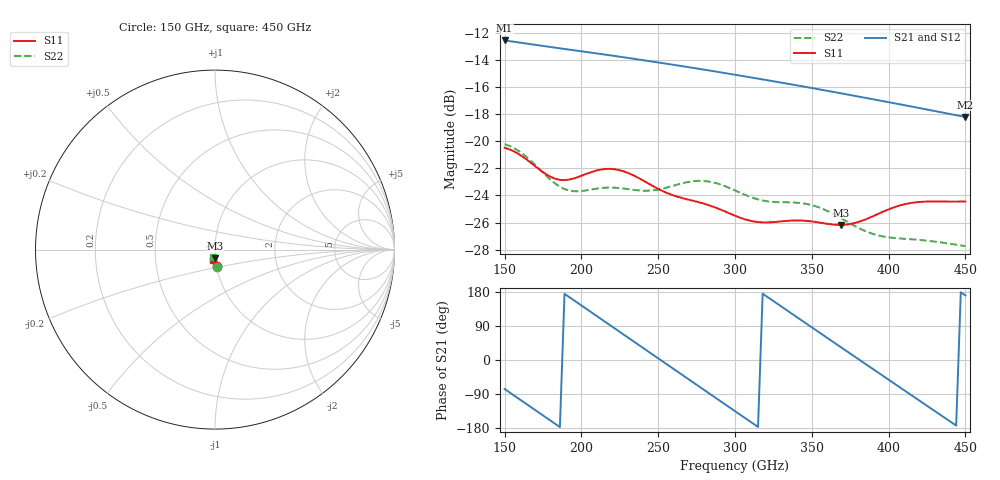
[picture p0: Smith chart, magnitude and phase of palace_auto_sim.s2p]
#  GHZ S DB R 50
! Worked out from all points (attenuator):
!   101 points, 150 GHz to 450 GHz, reference 50 ohm
!   highest |S21| = -12.58 dB at 150 GHz (marker M1); lowest = -18.2 dB at 450 GHz (marker M2)
!   lowest |S11| = -26.2 dB at 369 GHz (marker M3), VSWR 1.10, Z = 49.8 - j4.9 ohm
!   |S11| at or under -10 dB: start of sweep to end of sweep
!   |S22| runs from -27.7 to -20.2 dB; largest |S21 - S12| = 2.4e-13
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150  -20.49 -82.4  -12.58 -76.5  -12.58 -76.5  -20.22 -83.5
162  -21.16 -86.3  -12.78 -110.0  -12.78 -110.0  -20.96 -88.4
177  -22.44 -86.2  -13.02 -151.9  -13.02 -151.9  -22.55 -90.2
189  -22.87 -81.8  -13.21 174.7  -13.21 174.7  -23.53 -86.0
201  -22.51 -79.8  -13.40 141.2  -13.40 141.2  -23.67 -81.2
213  -22.09 -82.7  -13.59 107.7  -13.59 107.7  -23.46 -80.2
225  -22.15 -88.2  -13.78 74.1  -13.78 74.1  -23.46 -81.2
240  -22.89 -93.7  -14.03 32.2  -14.03 32.2  -23.65 -81.4
252  -23.63 -95.2  -14.24 -1.3  -14.24 -1.3  -23.52 -80.8
264  -24.14 -95.2  -14.45 -34.7  -14.45 -34.7  -23.15 -82.3
276  -24.49 -95.7  -14.66 -68.2  -14.66 -68.2  -22.93 -86.6
288  -24.93 -96.6  -14.88 -101.6  -14.88 -101.6  -23.11 -91.8
300  -25.50 -96.4  -15.11 -135.0  -15.11 -135.0  -23.63 -95.6
321  -25.99 -92.3  -15.51 166.6  -15.51 166.6  -24.43 -97.1
336  -25.86 -91.2  -15.81 125.0  -15.81 125.0  -24.51 -98.6
351  -25.93 -91.9  -16.11 83.4  -16.11 83.4  -24.75 -102.9
369  -26.17 -90.0  -16.48 33.6  -16.48 33.6  -25.67 -107.3
384  -25.81 -87.2  -16.79 -7.8  -16.79 -7.8  -26.59 -107.1
402  -24.94 -88.4  -17.17 -57.5  -17.17 -57.5  -27.12 -104.4
423  -24.46 -94.7  -17.63 -115.3  -17.63 -115.3  -27.31 -103.6
438  -24.46 -98.7  -17.96 -156.5  -17.96 -156.5  -27.53 -104.0
450  -24.45 -101.7  -18.22 170.5  -18.22 170.5  -27.74 -104.3
